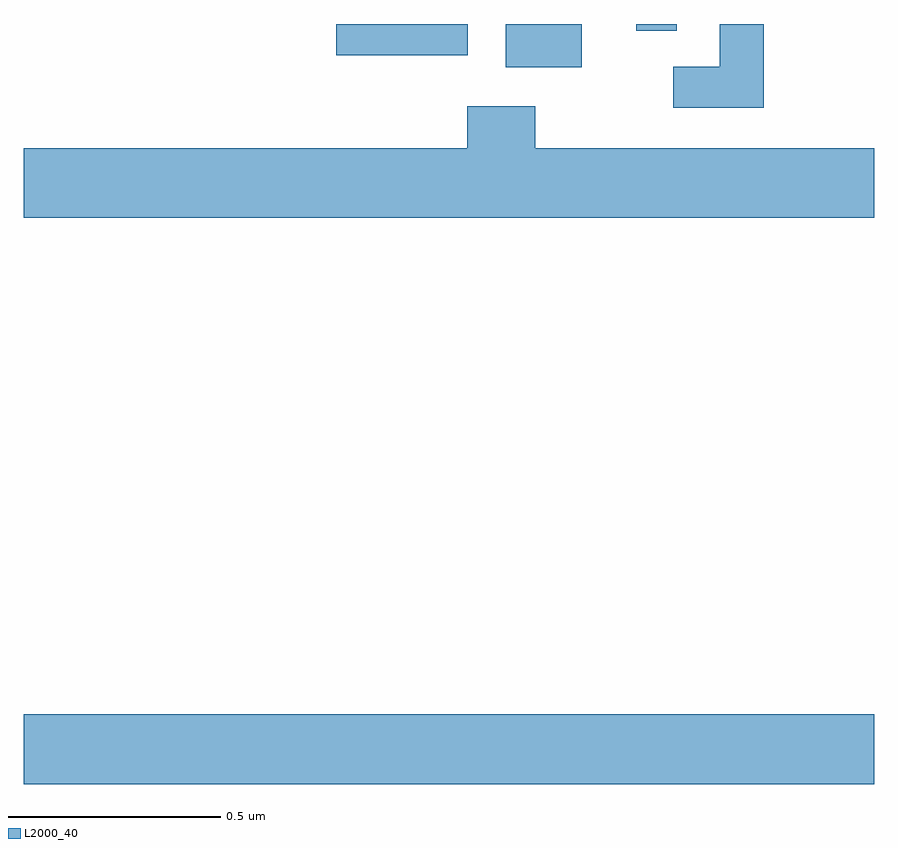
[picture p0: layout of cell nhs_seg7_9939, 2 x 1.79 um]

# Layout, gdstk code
import gdstk
lib = gdstk.Library(unit=1e-6, precision=1e-09)
def R(c, l, rs):  # rectangles x0, y0, x1, y1
    for r in rs: c.add(gdstk.rectangle(r[:2], r[2:], *l))
def P(c, l, *ps):  # polygons
    for p in ps: c.add(gdstk.Polygon(p, *l))
L2000_40 = (2000, 40)

nhs_seg7_9939 = lib.new_cell('nhs_seg7_9939')
R(nhs_seg7_9939, L2000_40, [(243,1071.212,245,1071.376), (244.133,1072.898,244.312,1073), (243.735,1072.927,244.044,1073), (244.44,1072.984,244.536,1073)])
P(nhs_seg7_9939, L2000_40, [(244.741,1073),(244.637,1073),(244.637,1072.899),(244.527,1072.899),(244.527,1072.803),(244.741,1072.803)],
  [(245,1072.708),(244.203,1072.708),(244.203,1072.807),(244.043,1072.807),(244.043,1072.708),(243,1072.708),(243,1072.544),(245,1072.544)])

lib.write_gds('nhs_seg7_9939.gds')
